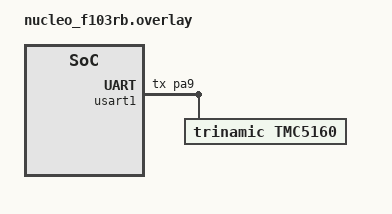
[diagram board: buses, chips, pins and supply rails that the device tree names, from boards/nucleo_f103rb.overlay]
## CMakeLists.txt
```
# SPDX-License-Identifier: Apache-2.0

# Add the driver directory as a zephyr module by hand
list(APPEND ZEPHYR_EXTRA_MODULES
	${CMAKE_CURRENT_SOURCE_DIR}/../drivers/tmc5160
)

list(APPEND OVERLAY_CONFIG
	${CMAKE_CURRENT_SOURCE_DIR}/../drivers/tmc5160/tmc5160-uart.conf
)

cmake_minimum_required(VERSION 3.20.0)

# required for apps
find_package(Zephyr REQUIRED HINTS $ENV{ZEPHYR_BASE})

project(application_tmc_uart)

zephyr_include_directories(src)

target_sources(app PRIVATE
	src/main.c
)
```

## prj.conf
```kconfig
CONFIG_TMC5160=y

CONFIG_SHELL_LOG_BACKEND=y

CONFIG_STDOUT_CONSOLE=y
CONFIG_PRINTK=y

CONFIG_LOG=y
CONFIG_LOG_PRINTK=y
CONFIG_LOG_MODE_IMMEDIATE=y
#CONFIG_LOG_BACKEND_UART=y

CONFIG_PWM=y
CONFIG_PWM_LOG_LEVEL_DBG=y

CONFIG_SENSOR_LOG_LEVEL_DBG=y
```

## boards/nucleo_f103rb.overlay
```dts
/* SPDX-License-Identifier: Apache-2.0 */

/ {
	aliases {
	   uart1 = &usart1;
	   uart2 = &usart2;
	   uart3 = &usart3;
   };
};

// USART1 tx:PA9 rx:PA10
// USART2 tx:PA2 rx:PA3
// USART3 tx:PB10 rx:PB11
&usart1 {

	dmas = <&dma1 4 0x440>,
			<&dma1 5 0x480>;
	dma-names = "tx", "rx";

	single-wire;
	pinctrl-0 = <&usart1_tx_pa9>;

	tmc0: tmc5160 {
		compatible = "trinamic,tmc5160";
		status = "okay";
		label = "TMC5160";
	};
};

&usart2 {
	// !!! LEAVE THIS ALONE !!!
	// default ST-LINK / debug port (hence also zephyr console)
};

// see https://github.com/zephyrproject-rtos/zephyr/blob/db3f8c16e9c95801961a433c07f481bfcb385466/tests/drivers/uart/uart_async_api/boards/nucleo_f103rb.overlay
&dma1 {
	status = "okay";
};
```

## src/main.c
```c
/*
 * Copyright (c) 2022 Wrecklab BV
 *
 * SPDX-License-Identifier: Apache-2.0
 */

#include <zephyr.h>
#include <device.h>
#include <devicetree.h>
#include <drivers/gpio.h>
#include <drivers/uart.h>

#include "tmc5160.h"

#define UART_NODE1 DT_ALIAS(uart1)
#define UART_NODE2 DT_ALIAS(uart2)
#define UART_NODE3 DT_ALIAS(uart3)

#define SLEEP_TIME_MS   1000
#define LED0_NODE DT_ALIAS(led0)

bool toggle;

const struct device *tmc;
struct gpio_dt_spec led = GPIO_DT_SPEC_GET(LED0_NODE, gpios);

const struct device *uart1 = DEVICE_DT_GET(UART_NODE1);
const struct device *uart2 = DEVICE_DT_GET(UART_NODE2);
const struct device *uart3 = DEVICE_DT_GET(UART_NODE3);

void main(void)
{
	tmc = DEVICE_DT_GET_ANY(trinamic_tmc5160);

	if (tmc == NULL) {
		return;
	}

	// config UARTs
	if (!device_is_ready(uart1) || !device_is_ready(uart2)) {
		printk("uart devices not ready\n");
		return;
	}

	// config LED
	if( !device_is_ready(led.port) ) {
		return;
	}
	if( gpio_pin_configure_dt(&led, GPIO_OUTPUT_ACTIVE) < 0 ) {
		return;
	}
	toggle = 1;

	uint8_t reg = TMC5160_GSTAT;
	//reg = TMC5160_INP_OUT;
	reg = TMC5160_RAMPMODE;
	uint32_t data, count = 0;

	while (1) {

		if(toggle) {
			if( gpio_pin_toggle_dt(&led) < 0 ) {
				return;
			}
		}

		//tmc_reg_write(tmc, 0, reg, 1);

		//tmc_reg_read(tmc, 0, reg, &data);
		//printk( "Count %u - Register value: 0x%08X \n", count, data);

		toggle = !toggle;
		count++;

		k_sleep(K_MSEC(SLEEP_TIME_MS));
	}
}
```
